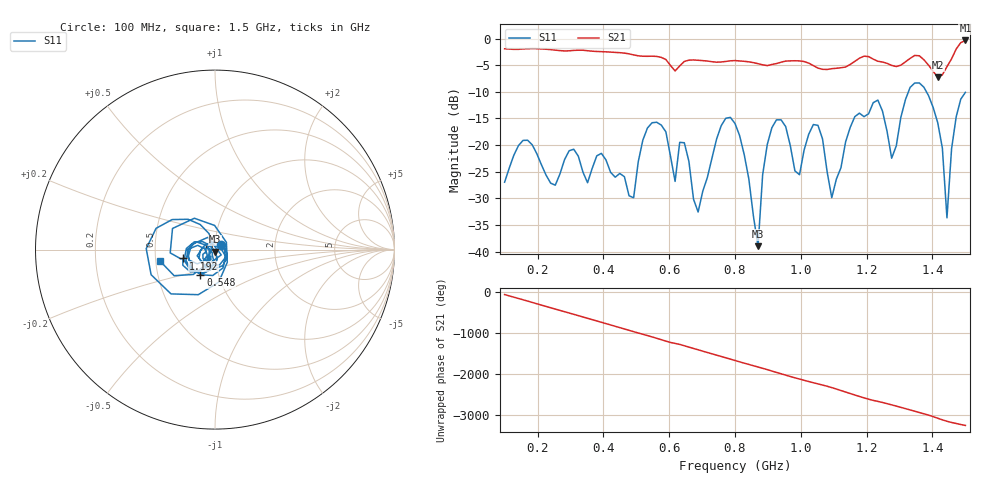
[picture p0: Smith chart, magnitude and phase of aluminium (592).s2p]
! NanoVNA-App
! Date: 2025-09-25 14:59:53
! Start: 100MHz Stop: 1,5GHz Points: 101
! S-Parameter data: F S11 S21 S12 S22
# Hz S RI R 50
!  Frequency  S11_Real  S11_Imag  S21_Real  S21_Imag  S12_Real  S12_Imag  S22_Real  S22_Imag
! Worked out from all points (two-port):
!   101 points, 100 MHz to 1.5 GHz, reference 50 ohm
!   highest |S21| = -0.36 dB at 1.5 GHz (marker M1); lowest = -7.3 dB at 1.416 GHz (marker M2)
!   |S21| within 3 dB of the highest: start of sweep to 562.4 MHz; 1.461 GHz to end of sweep (the widest 2 of 4)
!   lowest |S11| = -39.0 dB at 870 MHz (marker M3), VSWR 1.02, Z = 50.1 - j1.12 ohm
!   |S11| at or under -10 dB: start of sweep to 1.327 GHz; 1.382 GHz to end of sweep
!   S12 and S22 are empty: the file has one direction only
!   S11 on the Smith chart (normalised r, x): 100 MHz: 1.07, +0.06; 548 MHz: 0.82, -0.24; 1.192 GHz: 0.69, -0.07; 1.5 GHz: 0.53, -0.08
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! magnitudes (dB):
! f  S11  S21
! 100 MHz  -27.0  -1.9
! 156 MHz  -19.1  -2.0
! 338 MHz  -25.1  -2.2
! 492 MHz  -29.9  -3.1
! 548 MHz  -15.8  -3.3
! 576 MHz  -16.2  -3.5
! 646 MHz  -19.6  -4.3
! 688 MHz  -32.5  -4.1
! 800 MHz  -15.9  -4.1
! 870 MHz  -39.0  -4.7
! 912 MHz  -16.7  -4.9
! 996 MHz  -25.6  -4.2
! 1.038 GHz  -16.1  -5.1
! 1.094 GHz  -29.9  -5.7
! 1.192 GHz  -14.7  -3.3
! 1.234 GHz  -11.6  -4.3
! 1.276 GHz  -22.5  -5.0
! 1.346 GHz  -8.3  -3.2
! 1.416 GHz  -15.8  -7.3
! 1.444 GHz  -33.6  -5.3
! 1.472 GHz  -14.7  -2.0
! 1.5 GHz  -10.1  -0.4
